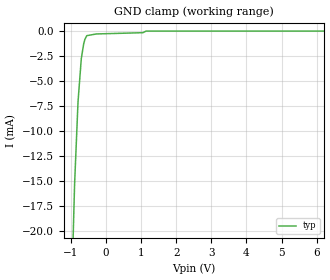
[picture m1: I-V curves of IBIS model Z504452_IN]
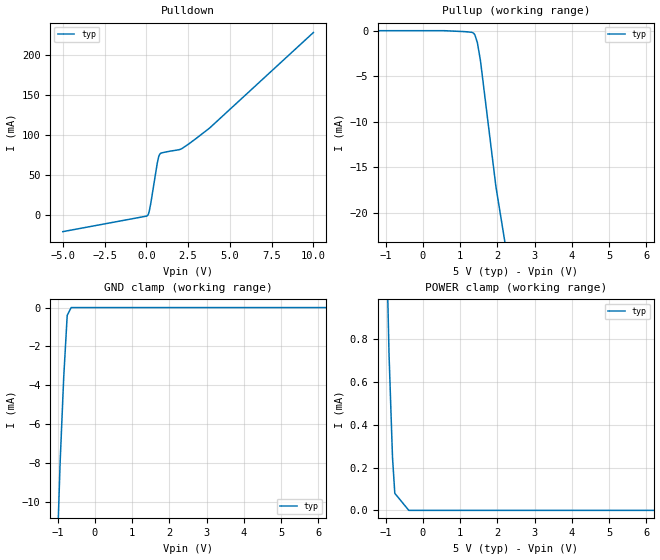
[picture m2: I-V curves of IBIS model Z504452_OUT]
| YOU ARE ONLY AUTHORIZED TO USE THIS SOFTWARE
| ACCORDING TO LICENSOR'S LICENSE RESTRICTIONS.
[IBIS Ver] 3.1
[File Name] sn54ls37j.ibs
[File Rev] 2.0
[Source] Measured and created by ICX Technology
[Date] Friday 7/14/00 9:08:15 AM
[Copyright]
| (C) COPYRIGHT 1993-2000
| MENTOR GRAPHICS CORPORATION
| ICX STANDARD LIBRARY, ICX PROJECT MODELING,
| ICX CUSTOM MODELING, ICX VENDOR MODEL
| ALL RIGHTS RESERVED.
| THE FOLLOWING ARE TRADEMARKS OR SERVICE MARKS OF
| MENTOR GRAPHICS CORPORATION:ICX (R), ICX STANDARD
| LIBRARY(R), ICX PROJECT MODELING(R), ICX CUSTOM
| MODELING(R), qualityIBIS(TM), MODELVIEWER(TM),
| AND MODELEDITOR(TM)
| ALL COPIES OF SOFTWARE, INCLUDING BUT NOT LIMITED TO
| ANY MODIFICATIONS, ENHANCEMENTS OR DERIVATIVE WORKS,
| MUST CONTAIN ALL MENTOR GRAPHICS CORPORATION'S
| NOTICES AND LEGENDS, INCLUDING THOSE EMBEDDED IN
| SOFTWARE AND THOSE AFFIXED TO SOFTWARE MEDIUM
| AND CONTAINER, AS RECEIVED FROM MENTOR GRAPHICS
| CORPORATION.
|  ZAP Model Builder 2.7
[Component] SN54LS37J
[Manufacturer] OnSemiconductor
[Package]
| variable   typ   min   max
R_pkg  .21ohms NA NA
L_pkg  4.543nH NA NA
C_pkg  1.8pF NA NA
[Pin] signal_name  model_name  R_pin  L_pin C_pin
1 A Z504452_IN .22 6.757n 2.434p
2 B Z504452_IN .212 4.757n 1.941p
3 Y Z504452_OUT .204 3.257n 1.448p
4 A Z504452_IN .196 2.257n .955p
5 B Z504452_IN .204 3.257n 1.448p
6 Y Z504452_OUT .212 4.757n 1.941p
7 GND GND .22 6.757n 2.434p
8 Y Z504452_OUT .22 6.757n 2.434p
9 A Z504452_IN .212 4.757n 1.941p
10 B Z504452_IN .204 3.257n 1.448p
11 Y Z504452_OUT .196 2.257n .955p
12 A Z504452_IN .204 3.257n 1.448p
13 B Z504452_IN .212 4.757n 1.941p
14 VCC POWER .22 6.757n 2.434p
| Models and submodels in the file (2): Z504452_IN (Input), Z504452_OUT (Output)
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| (C) COPYRIGHT 1993-2000
| MENTOR GRAPHICS CORPORATION
| ICX STANDARD LIBRARY, ICX PROJECT MODELING,
| ICX CUSTOM MODELING, ICX VENDOR MODEL
| ALL RIGHTS RESERVED.
| THE FOLLOWING ARE TRADEMARKS OR SERVICE MARKS OF
| MENTOR GRAPHICS CORPORATION:ICX (R), ICX STANDARD
| LIBRARY(R), ICX PROJECT MODELING(R), ICX CUSTOM
| MODELING(R), qualityIBIS(TM), MODELVIEWER(TM),
| AND MODELEDITOR(TM)
| ALL COPIES OF SOFTWARE, INCLUDING BUT NOT LIMITED TO
| ANY MODIFICATIONS, ENHANCEMENTS OR DERIVATIVE WORKS,
| MUST CONTAIN ALL MENTOR GRAPHICS CORPORATION'S
| NOTICES AND LEGENDS, INCLUDING THOSE EMBEDDED IN
| SOFTWARE AND THOSE AFFIXED TO SOFTWARE MEDIUM
| AND CONTAINER, AS RECEIVED FROM MENTOR GRAPHICS
| CORPORATION.
| Model Application Version 1.89 2/18/99.
[Model] Z504452_IN
Model_type Input
Vinl = 800.0mV
Vinh = 2.000V
C_comp 4.000pF NA NA
| variable typ   min   max
[Voltage Range] 5.000V NA NA
[GND Clamp Reference] 0.000V NA NA
[POWER Clamp Reference] 5.000V NA NA
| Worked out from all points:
|   GND clamp passes 1 mA (typ) near -0.61 V on its own axis
[GND Clamp]
-5V       -543.7mA   NA         NA
-893.2mV  -15.31mA   NA         NA
-795.9mV  -7.091mA   NA         NA
-703mV    -2.777mA   NA         NA
-634.8mV  -1.289mA   NA         NA
-600.6mV  -840uA     NA         NA
-546.8mV  -470.1uA   NA         NA
-273.4mV  -296.4uA   NA         NA
1.05V     -171.2uA   NA         NA
1.143V    -10.86uA   NA         NA
10V       -10.86uA   NA         NA
[POWER Clamp]
-5V       0A         NA         NA
10V       0A         NA         NA
| (C) COPYRIGHT 1993-2000
| MENTOR GRAPHICS CORPORATION
| ICX STANDARD LIBRARY, ICX PROJECT MODELING,
| ICX CUSTOM MODELING, ICX VENDOR MODEL
| ALL RIGHTS RESERVED.
| THE FOLLOWING ARE TRADEMARKS OR SERVICE MARKS OF
| MENTOR GRAPHICS CORPORATION:ICX (R), ICX STANDARD
| LIBRARY(R), ICX PROJECT MODELING(R), ICX CUSTOM
| MODELING(R), qualityIBIS(TM), MODELVIEWER(TM),
| AND MODELEDITOR(TM)
| ALL COPIES OF SOFTWARE, INCLUDING BUT NOT LIMITED TO
| ANY MODIFICATIONS, ENHANCEMENTS OR DERIVATIVE WORKS,
| MUST CONTAIN ALL MENTOR GRAPHICS CORPORATION'S
| NOTICES AND LEGENDS, INCLUDING THOSE EMBEDDED IN
| SOFTWARE AND THOSE AFFIXED TO SOFTWARE MEDIUM
| AND CONTAINER, AS RECEIVED FROM MENTOR GRAPHICS
| CORPORATION.
| Model Application Version 1.89 2/18/99.
[Model] Z504452_OUT
Model_type Output
Vref=5.000V
Rref=2.000kohms
Cref=15.00pF
Vmeas=1.300V
C_comp 8.000pF NA NA
| variable typ   min   max
[Voltage Range] 5.000V NA NA
[POWER Clamp Reference] 5.000V NA NA
[Pullup Reference] 5.000V NA NA
[Pulldown Reference] 0.000V NA NA
[GND Clamp Reference] 0.000V NA NA
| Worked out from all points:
|   slope of the pulldown table from 0 to 0.75 V, typ, clamps not added: 10 ohm
|   slope of the pullup table from 0 to 0.75 V, typ, clamps not added: 23.1 kohm
|   GND clamp passes 1 mA (typ) near -0.76 V on its own axis
[GND Clamp]
-5V       -325mA     NA         NA
-1.123V   -19.15mA   NA         NA
-936.7mV  -8.029mA   NA         NA
-839.8mV  -3.615mA   NA         NA
-745.7mV  -402.1uA   NA         NA
-639.2mV  0A         NA         NA
10V       0A         NA         NA
[Pulldown]
-5V       -20.89mA   NA         NA
29.37mV   -1.396mA   NA         NA
130.1mV   1.354mA    NA         NA
184.9mV   5.573mA    NA         NA
272.6mV   15.2mA     NA         NA
654.8mV   64.84mA    NA         NA
747.3mV   73.33mA    NA         NA
804.4mV   75.98mA    NA         NA
981.7mV   77.92mA    NA         NA
2.137V    83.07mA    NA         NA
3.784V    108.6mA    NA         NA
10V       228.1mA    NA         NA
[Pullup]
-5V       12.84uA    NA         NA
581mV     12.84uA    NA         NA
1.142V    -94.77uA   NA         NA
1.32V     -170.3uA   NA         NA
1.358V    -244.3uA   NA         NA
1.396V    -421.3uA   NA         NA
1.465V    -1.3mA     NA         NA
1.548V    -3.295mA   NA         NA
1.963V    -17.13mA   NA         NA
10V       -220.3mA   NA         NA
[POWER Clamp]
-5V       32.62mA    NA         NA
-907mV    729uA      NA         NA
-814mV    248.6uA    NA         NA
-752mV    79.56uA    NA         NA
-376mV    0A         NA         NA
10V       0A         NA         NA
[Ramp]
| variable typ min max
dV/dt_r 1.954/4.456n NA NA
dV/dt_f 1.954/2.448n NA NA
R_load = 500.0Ohms
